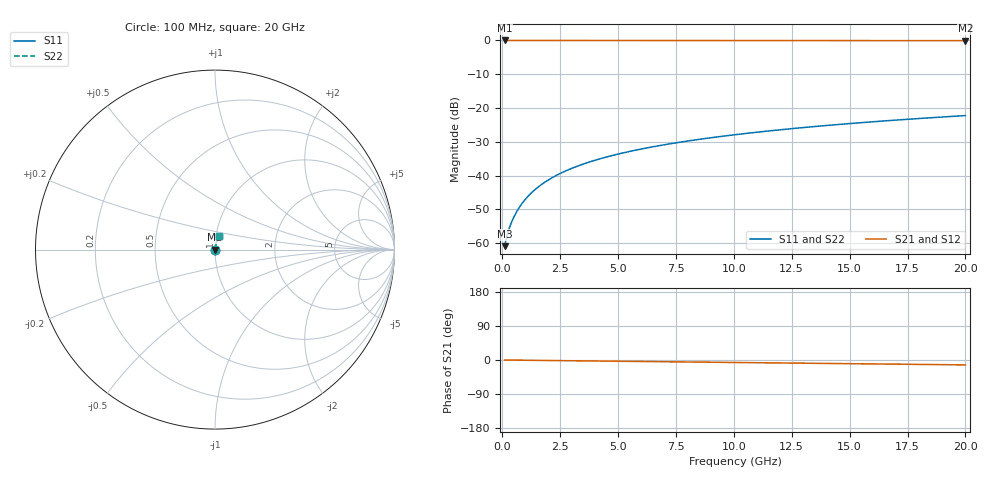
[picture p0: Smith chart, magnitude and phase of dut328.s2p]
! Touchstone file exported from HFSS 2026.1.0
!  File:  C:/ffzhzh/LocalFiles/Ansys_Project_Files/temp_train_BSMRDL_328_1783010963_53980.aedt
!  Generated:  12:50:44 AM Jul  3, 2026
!  Design:  BSMRDL
!  Project:  temp_train_BSMRDL_328_1783010963_53980
! Variables:
!  h_bsmrdl = 4.84um
!  h_ox = 20um
!  h_rdl = 5um
!  h_sub = 80um
!  h_tmrdl = 5um
!  h_tsv = 80um
!  h_via = 3um
!  l_bsmrdl = 192.42um
!  l_sub = 592.42um
!  l_tmrdl = 200um
!  m_sub = 200um
!  pitch = 39um
!  r_tsv = 6um
!  s_tmrdl = 10um
!  w_bsmrdl = 25.87um
!  w_sub = 500um
!  w_tmrdl = 12um
!  x_tsv_center1 = 206um
!  x_tsv_center2 = 424.29um
!  x_tsv_center3 = 636.29um
!  x_tsv_center4 = 854.58um
!  x_tsv_center5 = 1066.58um
!  x_tsv_center6 = 1284.87um
# GHz S MA R 50.000000
! Terminal data exported
! Port[1] = BSM_RDL1_1_T1
! Port[2] = BSM_RDL1_1_T2
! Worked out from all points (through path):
!   200 points, 100 MHz to 20 GHz, reference 50 ohm
!   highest |S21| = -0.01 dB at 100 MHz (marker M1); lowest = -0.1 dB at 20 GHz (marker M2)
!   group delay of S21, straight-line fit = 1.79 ps
!   lowest |S11| = -60.9 dB at 100 MHz (marker M3), VSWR 1.00, Z = 50.1 + j0.053 ohm
!   |S11| at or under -10 dB: start of sweep to end of sweep
!   |S22| runs from -60.9 to -22.2 dB; largest |S21 - S12| = 4.2e-15
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0.1  0.0009065 35.7  0.9993 -0.1  0.9993 -0.1  0.0009065 35.7
! Gamma 0 0 0 0
! Port Impedance 50 0 50 0
0.2  0.001284 50.8  0.9992 -0.1  0.9992 -0.1  0.001284 50.8
0.3  0.001668 58.5  0.9991 -0.2  0.9991 -0.2  0.001668 58.5
0.4  0.002054 63.7  0.9991 -0.3  0.9991 -0.3  0.002054 63.7
0.5  0.002447 67.4  0.9991 -0.3  0.9991 -0.3  0.002447 67.4
0.6  0.002847 70.2  0.999 -0.4  0.999 -0.4  0.002847 70.2
0.8  0.003663 73.9  0.999 -0.5  0.999 -0.5  0.003663 73.9
1.1  0.004912 77.2  0.999 -0.7  0.999 -0.7  0.004912 77.2
1.3  0.005751 78.4  0.9989 -0.9  0.9989 -0.9  0.005751 78.4
1.6  0.007013 79.7  0.9988 -1.1  0.9988 -1.1  0.007013 79.7
2.1  0.009109 80.8  0.9987 -1.4  0.9987 -1.4  0.009109 80.8
2.7  0.0116 81.3  0.9985 -1.8  0.9985 -1.8  0.0116 81.3
3.5  0.01487 81.4  0.9983 -2.3  0.9983 -2.3  0.01487 81.4
4.2  0.01769 81.3  0.998 -2.8  0.998 -2.8  0.01769 81.3
5  0.02087 81.1  0.9977 -3.3  0.9977 -3.3  0.02087 81.1
5.9  0.0244 80.8  0.9974 -3.9  0.9974 -3.9  0.0244 80.8
6.8  0.02789 80.4  0.9971 -4.5  0.9971 -4.5  0.02789 80.4
8.3  0.03367 79.8  0.9966 -5.4  0.9966 -5.4  0.03367 79.8
10.1  0.04053 79.0  0.996 -6.6  0.996 -6.6  0.04053 79.0
13.4  0.05299 77.4  0.995 -8.7  0.995 -8.7  0.05299 77.4
16.7  0.06528 75.6  0.9938 -10.8  0.9938 -10.8  0.06528 75.6
20  0.07741 73.8  0.9925 -12.9  0.9925 -12.9  0.07741 73.8
